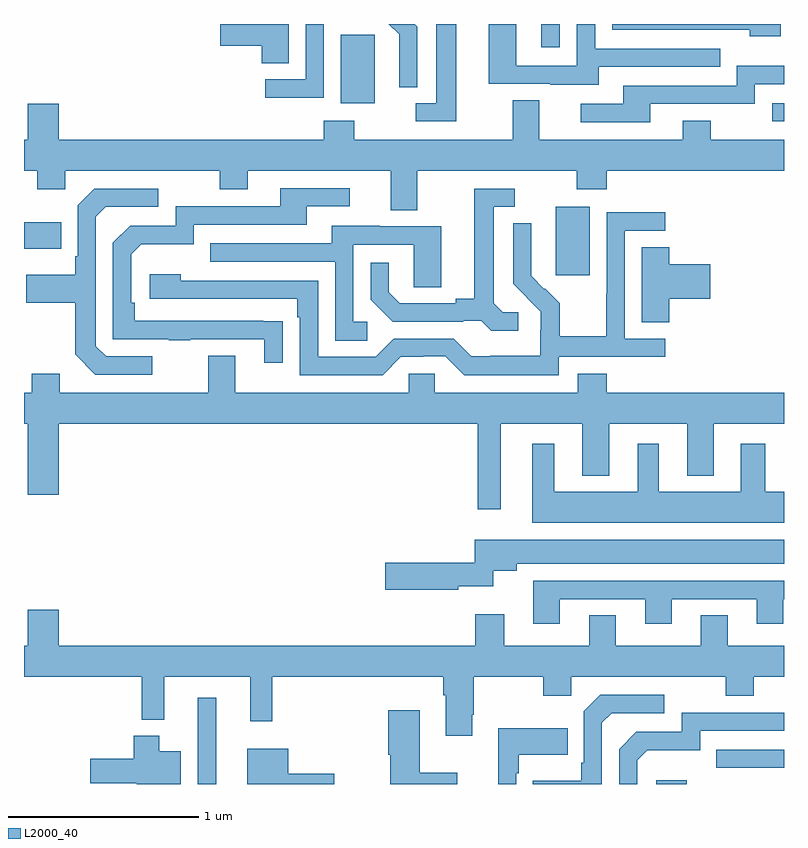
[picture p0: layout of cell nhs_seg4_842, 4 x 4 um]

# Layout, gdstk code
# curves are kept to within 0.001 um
import gdstk
lib = gdstk.Library(unit=1e-6, precision=1e-09)
def R(c, l, rs):  # rectangles x0, y0, x1, y1
    for r in rs: c.add(gdstk.rectangle(r[:2], r[2:], *l))
def P(c, l, *ps):  # polygons
    for p in ps: c.add(gdstk.Polygon(p, *l))
L2000_40 = (2000, 40)

nhs_seg4_842 = lib.new_cell('nhs_seg4_842')
R(nhs_seg4_842, L2000_40, [(153.915,818.9,154.012,819.355), (156.327,818.9,156.488,818.92), (156.643,818.985,157,819.081), (155.798,821.577,155.977,821.938), (153,821.717,153.197,821.857), (156.939,822.387,157,822.483), (154.667,822.482,154.846,822.843), (155.723,822.777,155.82,822.9)])
P(nhs_seg4_842, L2000_40, [(156.982,822.9),(156.096,822.9),(156.096,822.87),(156.821,822.87),(156.821,822.836),(156.982,822.836)],
  [(155.07,822.886),(155.056,822.9),(154.92,822.9),(154.976,822.845),(154.976,822.722),(154.974,822.722),(154.974,822.568),(155.07,822.568)],
  [(154.578,822.9),(154.482,822.9),(154.482,822.609),(154.269,822.609),(154.269,822.511),(154.578,822.511)],
  [(156.025,822.675),(156.665,822.675),(156.665,822.771),(156.006,822.771),(156.006,822.9),(155.91,822.9),(155.91,822.681),(155.592,822.681),(155.592,822.9),(155.447,822.9),(155.447,822.585),(155.771,822.585),(155.771,822.581),(156.025,822.581)],
  [(155.275,822.9),(155.171,822.9),(155.171,822.483),(155.061,822.483),(155.061,822.387),(155.275,822.387)],
  [(154.393,822.9),(154.032,822.9),(154.032,822.785),(154.25,822.785),(154.25,822.694),(154.393,822.694)],
  [(156.295,822.48),(156.846,822.48),(156.846,822.582),(157,822.582),(157,822.679),(156.75,822.679),(156.75,822.576),(156.155,822.576),(156.155,822.48),(155.931,822.48),(155.931,822.384),(156.295,822.384)],
  [(155.071,822.128),(155.908,822.128),(155.908,822.029),(156.068,822.029),(156.068,822.128),(157,822.128),(157,822.292),(156.615,822.292),(156.615,822.391),(156.467,822.391),(156.467,822.292),(155.713,822.292),(155.713,822.5),(155.573,822.5),(155.573,822.292),(154.737,822.292),(154.737,822.391),(154.577,822.391),(154.577,822.292),(153.184,822.292),(153.184,822.481),(153.02,822.481),(153.02,822.292),(153,822.292),(153,822.128),(153.07,822.128),(153.07,822.029),(153.216,822.029),(153.216,822.128),(154.03,822.128),(154.03,822.029),(154.177,822.029),(154.177,822.128),(154.931,822.128),(154.931,821.92),(155.071,821.92)],
  [(154.361,821.336),(153.584,821.337),(153.584,821.434),(153.564,821.434),(153.564,821.688),(153.617,821.741),(153.894,821.741),(153.894,821.844),(154.489,821.844),(154.489,821.94),(154.714,821.94),(154.714,822.036),(154.349,822.036),(154.349,821.94),(153.798,821.94),(153.798,821.838),(153.558,821.838),(153.468,821.748),(153.468,821.241),(153.763,821.241),(153.763,821.236),(153.875,821.236),(153.875,821.241),(154.265,821.241),(154.265,821.118),(154.361,821.118)],
  [(155.602,821.382),(155.52,821.382),(155.473,821.429),(155.473,821.937),(155.584,821.937),(155.584,822.033),(155.369,822.033),(155.369,821.453),(155.273,821.453),(155.273,821.43),(154.978,821.43),(154.921,821.487),(154.921,821.644),(154.824,821.644),(154.824,821.45),(154.94,821.334),(155.312,821.334),(155.312,821.337),(155.406,821.337),(155.458,821.285),(155.602,821.285)],
  [(153.676,821.151),(153.432,821.151),(153.378,821.205),(153.378,821.886),(153.429,821.937),(153.706,821.937),(153.706,822.033),(153.369,822.033),(153.282,821.946),(153.282,821.677),(153.27,821.677),(153.27,821.581),(153.013,821.581),(153.013,821.434),(153.27,821.434),(153.27,821.161),(153.375,821.055),(153.676,821.055)],
  [(155.814,821.148),(156.376,821.148),(156.376,821.244),(156.162,821.244),(156.162,821.811),(156.376,821.811),(156.376,821.91),(156.066,821.91),(156.066,821.48),(156.064,821.48),(156.064,821.257),(155.819,821.257),(155.819,821.431),(155.742,821.508),(155.739,821.505),(155.669,821.576),(155.67,821.852),(155.574,821.852),(155.574,821.534),(155.72,821.386),(155.72,821.289),(155.718,821.289),(155.718,821.155),(155.455,821.155),(155.455,821.151),(155.355,821.151),(155.262,821.244),(154.947,821.244),(154.851,821.148),(154.548,821.148),(154.548,821.55),(153.824,821.55),(153.824,821.584),(153.663,821.584),(153.663,821.454),(154.439,821.454),(154.439,821.357),(154.452,821.357),(154.452,821.052),(154.887,821.052),(154.983,821.148),(155.102,821.148),(155.102,821.151),(155.217,821.151),(155.317,821.051),(155.814,821.051)],
  [(154.807,821.334),(154.734,821.334),(154.734,821.739),(155.052,821.739),(155.052,821.515),(155.197,821.515),(155.197,821.835),(154.873,821.835),(154.873,821.839),(154.619,821.839),(154.619,821.745),(153.979,821.745),(153.979,821.649),(154.638,821.649),(154.638,821.233),(154.807,821.233)],
  [(156.395,821.453),(156.613,821.453),(156.613,821.636),(156.395,821.636),(156.395,821.726),(156.251,821.726),(156.251,821.329),(156.395,821.329)],
  [(155.509,820.796),(155.939,820.796),(155.939,820.523),(156.079,820.523),(156.079,820.796),(156.491,820.796),(156.491,820.523),(156.631,820.523),(156.631,820.796),(157,820.796),(157,820.96),(156.068,820.96),(156.068,821.059),(155.915,821.059),(155.915,820.96),(155.163,820.96),(155.163,821.058),(155.025,821.058),(155.025,820.96),(154.111,820.96),(154.111,821.155),(153.971,821.155),(153.971,820.96),(153.187,820.96),(153.187,821.059),(153.04,821.059),(153.04,820.96),(153,820.96),(153,820.796),(153.02,820.796),(153.02,820.422),(153.184,820.422),(153.184,820.796),(155.388,820.796),(155.388,820.347),(155.509,820.347)],
  [(157,820.438),(156.901,820.438),(156.901,820.69),(156.773,820.69),(156.773,820.438),(156.34,820.438),(156.34,820.69),(156.23,820.69),(156.23,820.438),(155.791,820.438),(155.791,820.69),(155.675,820.69),(155.675,820.274),(157,820.274)],
  [(155.286,819.941),(155.469,819.941),(155.469,820.022),(155.593,820.022),(155.593,820.058),(157,820.058),(157,820.186),(155.373,820.186),(155.373,820.064),(154.902,820.064),(154.902,819.922),(155.286,819.922)],
  [(155.821,819.873),(156.269,819.873),(156.269,819.744),(156.409,819.744),(156.409,819.873),(156.857,819.873),(156.857,819.744),(156.997,819.744),(156.997,819.873),(157,819.873),(157,819.969),(155.681,819.969),(155.681,819.744),(155.821,819.744)],
  [(155.359,819.265),(155.367,819.265),(155.367,819.464),(155.734,819.464),(155.734,819.365),(155.88,819.365),(155.88,819.464),(156.694,819.464),(156.694,819.365),(156.841,819.365),(156.841,819.464),(157,819.464),(157,819.628),(156.703,819.628),(156.703,819.788),(156.563,819.788),(156.563,819.628),(156.115,819.628),(156.115,819.788),(155.975,819.788),(155.975,819.628),(155.527,819.628),(155.527,819.793),(155.375,819.793),(155.375,819.628),(153.184,819.628),(153.184,819.817),(153.02,819.817),(153.02,819.628),(153,819.628),(153,819.464),(153.619,819.464),(153.619,819.239),(153.737,819.239),(153.737,819.464),(154.19,819.464),(154.19,819.231),(154.307,819.231),(154.307,819.464),(155.207,819.464),(155.207,819.368),(155.219,819.368),(155.219,819.153),(155.359,819.153)],
  [(156.042,819.222),(156.093,819.273),(156.37,819.273),(156.37,819.369),(156.033,819.369),(155.946,819.282),(155.946,819.013),(155.934,819.013),(155.934,818.917),(155.677,818.917),(155.677,818.9),(156.042,818.9)],
  [(155.281,818.959),(155.083,818.959),(155.083,819.289),(154.916,819.289),(154.916,819.055),(154.928,819.055),(154.928,818.9),(155.281,818.9)],
  [(156.228,819.024),(156.281,819.077),(156.558,819.077),(156.558,819.18),(157,819.18),(157,819.276),(156.462,819.276),(156.462,819.174),(156.222,819.174),(156.132,819.084),(156.132,818.9),(156.228,818.9)],
  [(155.592,818.957),(155.605,818.957),(155.605,819.053),(155.861,819.053),(155.861,819.193),(155.495,819.193),(155.495,818.9),(155.592,818.9)],
  [(153.826,819.073),(153.712,819.073),(153.712,819.154),(153.578,819.154),(153.578,819.033),(153.348,819.033),(153.348,818.903),(153.594,818.903),(153.594,818.9),(153.826,818.9)],
  [(154.633,818.954),(154.39,818.954),(154.39,819.085),(154.175,819.085),(154.175,818.9),(154.633,818.9)])

lib.write_gds('nhs_seg4_842.gds')
